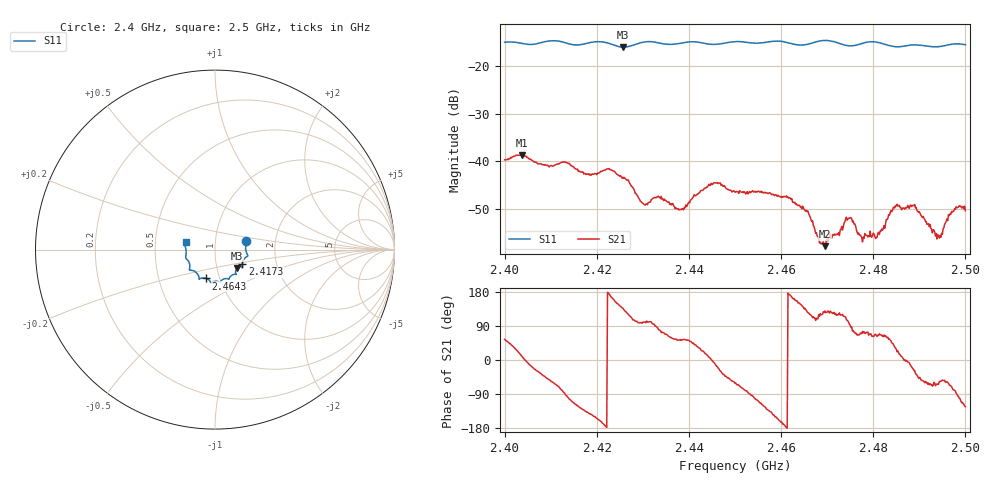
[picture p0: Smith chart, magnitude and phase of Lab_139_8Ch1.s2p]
# Hz S RI R 50
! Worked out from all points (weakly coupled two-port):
!   601 points, 2.4 GHz to 2.5 GHz, reference 50 ohm
!   highest |S21| = -38.68 dB at 2.4038 GHz (marker M1); lowest = -57.9 dB at 2.4695 GHz (marker M2)
!   lowest |S11| = -15.9 dB at 2.4257 GHz (marker M3), VSWR 1.38, Z = 62.4 - j13.1 ohm
!   |S11| at or under -10 dB: start of sweep to end of sweep
!   S12 and S22 are empty: the file has one direction only
!   S11 on the Smith chart (normalised r, x): 2.4 GHz: 1.41, +0.14; 2.4173 GHz: 1.34, -0.23; 2.4643 GHz: 0.86, -0.28; 2.5 GHz: 0.72, +0.06
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2.4e9  0.1736 0.0484  0.00602 0.00844  0 0  0 0
2.403833e9  0.1728 0.0266  0.0115 0.0017  0 0  0 0
2.416667e9  0.153 -0.0747  -0.00483 -0.00604  0 0  0 0
2.417333e9  0.1523 -0.0823  -0.00512 -0.00545  0 0  0 0
2.422667e9  0.1474 -0.0948  -0.00833 0.000824  0 0  0 0
2.425667e9  0.1225 -0.1023  -0.00496 0.00465  0 0  0 0
2.43e9  0.1172 -0.1367  -0.000631 0.00355  0 0  0 0
2.433333e9  0.1127 -0.1372  0.000571 0.00425  0 0  0 0
2.438333e9  0.0811 -0.1561  0.00191 0.00242  0 0  0 0
2.445333e9  0.0527 -0.1625  0.00587 -0.000589  0 0  0 0
2.45e9  0.0287 -0.1808  0.00227 -0.00415  0 0  0 0
2.464333e9  -0.0499 -0.1605  -0.00275 0.00185  0 0  0 0
2.466667e9  -0.0759 -0.159  -0.00101 0.00208  0 0  0 0
2.4695e9  -0.0883 -0.166  -0.000808 0.000984  0 0  0 0
2.474667e9  -0.103 -0.1292  -0.000402 0.00248  0 0  0 0
2.4775e9  -0.131 -0.1151  0.000557 0.00147  0 0  0 0
2.480833e9  -0.1427 -0.1099  0.000736 0.0014  0 0  0 0
2.483333e9  -0.1403 -0.0898  0.00158 0.00222  0 0  0 0
2.4885e9  -0.1617 -0.0477  0.0032 -0.00125  0 0  0 0
2.494333e9  -0.162 0.00199  0.000841 -0.0013  0 0  0 0
2.4975e9  -0.1704 0.0297  0.000572 -0.00293  0 0  0 0
2.5e9  -0.1638 0.0427  -0.00165 -0.00252  0 0  0 0
